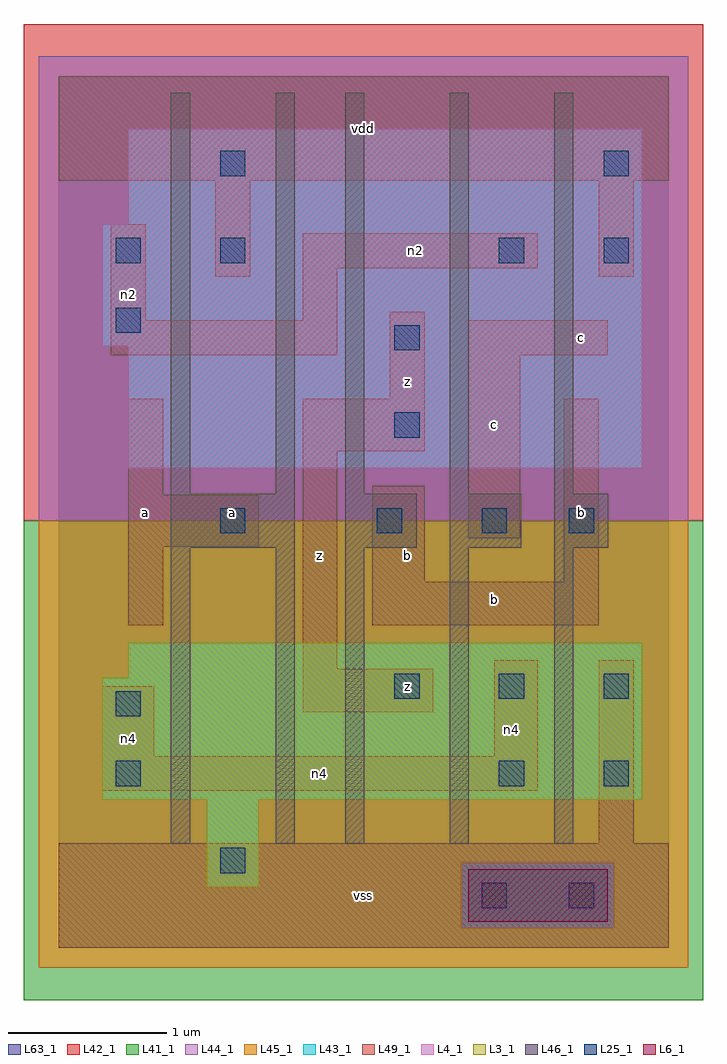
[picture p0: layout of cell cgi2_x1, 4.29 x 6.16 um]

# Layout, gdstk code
import gdstk
lib = gdstk.Library(unit=1e-6, precision=1e-09)
def R(c, l, rs):  # rectangles x0, y0, x1, y1
    for r in rs: c.add(gdstk.rectangle(r[:2], r[2:], *l))
def A(c, l, x, y, w, h, nx, ny, dx, dy):  # array of equal rectangles
    R(c, l, [(x+i*dx, y+j*dy, x+i*dx+w, y+j*dy+h) for i in range(nx) for j in range(ny)])
L3_1 = (3, 1)
L4_1 = (4, 1)
L6_1 = (6, 1)
L25_1 = (25, 1)
L41_1 = (41, 1)
L42_1 = (42, 1)
L43_1 = (43, 1)
L44_1 = (44, 1)
L45_1 = (45, 1)
L46_1 = (46, 1)
L49_1 = (49, 1)
L63_1 = (63, 1)

cgi2_x1 = lib.new_cell('cgi2_x1')
R(cgi2_x1, L3_1, [(0.935,0.385,1.265,0.935), (0.275,0.935,3.685,1.705), (0.44,1.705,3.685,1.925)])
R(cgi2_x1, L4_1, [(0.44,3.025,3.685,3.795), (0.275,3.795,3.685,4.565), (0.44,4.565,3.685,5.17)])
R(cgi2_x1, L6_1, [(2.585,0.165,3.465,0.495)])
A(cgi2_x1, L25_1, 2.12, 1.57, 0.16, 0.16, 3, 1, 0.66, 0)
R(cgi2_x1, L25_1, [(2.67,0.25,2.83,0.41), (3.22,0.25,3.38,0.41), (1.02,0.47,1.18,0.63), (0.36,1.02,0.52,1.18), (2.78,1.02,2.94,1.18), (3.44,1.02,3.6,1.18), (0.36,1.46,0.52,1.62), (1.02,2.615,1.18,2.775), (2.01,2.615,2.17,2.775), (2.67,2.615,2.83,2.775), (3.22,2.615,3.38,2.775), (2.12,3.22,2.28,3.38), (2.12,3.77,2.28,3.93), (0.36,3.88,0.52,4.04), (0.36,4.32,0.52,4.48), (1.02,4.32,1.18,4.48), (2.78,4.32,2.94,4.48), (3.44,4.32,3.6,4.48), (1.02,4.87,1.18,5.03), (3.44,4.87,3.6,5.03)])
R(cgi2_x1, L41_1, [(-0.22,-0.33,4.07,2.695)])
R(cgi2_x1, L42_1, [(-0.22,2.695,4.07,5.83)])
R(cgi2_x1, L43_1, [(2.585,0.165,3.465,0.495), (0.935,0.385,1.265,0.935), (0.275,0.935,3.685,1.705), (0.44,1.705,3.685,1.925), (0.44,3.025,3.685,3.795), (0.275,3.795,3.685,4.565), (0.44,4.565,3.685,5.17)])
R(cgi2_x1, L44_1, [(2.545,0.125,3.505,0.535), (-0.125,2.695,3.975,5.625)])
R(cgi2_x1, L45_1, [(-0.125,-0.125,3.975,0.125), (-0.125,0.125,2.545,0.535), (3.505,0.125,3.975,0.535), (-0.125,0.535,3.975,2.695)])
A(cgi2_x1, L46_1, 1.81, 0.655, 0.12, 1.87, 3, 1, 0.66, 0)
A(cgi2_x1, L46_1, 1.81, 2.865, 0.12, 2.53, 3, 1, 0.66, 0)
R(cgi2_x1, L46_1, [(0.71,0.655,0.83,2.525), (1.37,0.655,1.49,2.525), (0.71,2.525,1.49,2.865), (1.81,2.525,2.26,2.865), (2.47,2.525,2.92,2.865), (3.13,2.525,3.47,2.865), (0.71,2.865,0.83,5.395), (1.37,2.865,1.49,5.395)])
R(cgi2_x1, L49_1, [(0,0,3.85,0.66), (3.41,0.66,3.63,1.815), (0.275,0.99,3.025,1.21), (0.275,1.21,0.605,1.65), (2.75,1.21,3.025,1.815), (1.54,1.485,2.365,1.76), (1.54,1.76,1.76,3.135), (0.44,2.035,0.66,2.53), (1.98,2.035,3.41,2.31), (1.98,2.31,2.31,2.915), (3.19,2.31,3.41,3.465), (0.44,2.53,1.265,2.86), (2.585,2.585,2.915,3.74), (0.44,2.86,0.66,3.465), (1.54,3.135,2.31,3.465), (2.09,3.465,2.31,4.015), (0.33,3.74,1.76,3.96), (2.585,3.74,3.465,3.96), (0.33,3.96,0.55,4.565), (1.54,3.96,1.76,4.29), (0.99,4.235,1.21,4.84), (3.41,4.235,3.63,4.84), (1.54,4.29,3.025,4.51), (0,4.84,3.85,5.5)])
R(cgi2_x1, L63_1, [(0,0,3.85,5.5)])
cgi2_x1.add(gdstk.Label('n4', (0.44,1.32), layer=49, texttype=1))
cgi2_x1.add(gdstk.Label('n2', (0.44,4.125), layer=49, texttype=1))
cgi2_x1.add(gdstk.Label('a', (0.55,2.75), layer=49, texttype=1))
cgi2_x1.add(gdstk.Label('a', (0.55,2.75), layer=49, texttype=1))
cgi2_x1.add(gdstk.Label('a', (1.1,2.75), layer=49, texttype=1))
cgi2_x1.add(gdstk.Label('a', (1.1,2.75), layer=49, texttype=1))
cgi2_x1.add(gdstk.Label('vss', (1.925,0.33), layer=49, texttype=1))
cgi2_x1.add(gdstk.Label('vss', (1.925,0.33), layer=49, texttype=1))
cgi2_x1.add(gdstk.Label('z', (1.65,2.475), layer=49, texttype=1))
cgi2_x1.add(gdstk.Label('z', (1.65,2.475), layer=49, texttype=1))
cgi2_x1.add(gdstk.Label('vdd', (1.925,5.17), layer=49, texttype=1))
cgi2_x1.add(gdstk.Label('vdd', (1.925,5.17), layer=49, texttype=1))
cgi2_x1.add(gdstk.Label('n4', (2.86,1.375), layer=49, texttype=1))
cgi2_x1.add(gdstk.Label('n4', (1.65,1.1), layer=49, texttype=1))
cgi2_x1.add(gdstk.Label('z', (2.2,1.65), layer=49, texttype=1))
cgi2_x1.add(gdstk.Label('z', (2.2,1.65), layer=49, texttype=1))
cgi2_x1.add(gdstk.Label('b', (2.75,2.2), layer=49, texttype=1))
cgi2_x1.add(gdstk.Label('b', (2.75,2.2), layer=49, texttype=1))
cgi2_x1.add(gdstk.Label('b', (2.2,2.475), layer=49, texttype=1))
cgi2_x1.add(gdstk.Label('b', (2.2,2.475), layer=49, texttype=1))
cgi2_x1.add(gdstk.Label('c', (2.75,3.3), layer=49, texttype=1))
cgi2_x1.add(gdstk.Label('c', (2.75,3.3), layer=49, texttype=1))
cgi2_x1.add(gdstk.Label('z', (2.2,3.575), layer=49, texttype=1))
cgi2_x1.add(gdstk.Label('z', (2.2,3.575), layer=49, texttype=1))
cgi2_x1.add(gdstk.Label('n2', (2.255,4.4), layer=49, texttype=1))
cgi2_x1.add(gdstk.Label('b', (3.3,2.75), layer=49, texttype=1))
cgi2_x1.add(gdstk.Label('b', (3.3,2.75), layer=49, texttype=1))
cgi2_x1.add(gdstk.Label('c', (3.3,3.85), layer=49, texttype=1))
cgi2_x1.add(gdstk.Label('c', (3.3,3.85), layer=49, texttype=1))

lib.write_gds('cgi2_x1.gds')
